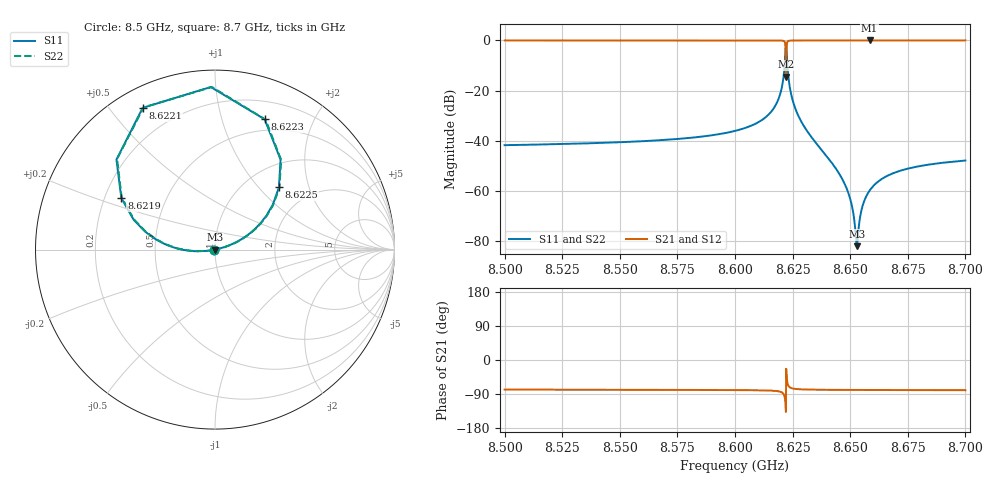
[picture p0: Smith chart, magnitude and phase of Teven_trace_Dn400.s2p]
! Sonnet Data File
! From: emgraph Version : 16.52
! From Project: 171114transmon_trace_brg2
! Data is De-embedded
! Data File Written: 11/14/2017 15:35:21
!< HDATE 11/14/2017 14:44:41
!< MDATE 11/14/2017 14:44:41
!< PARAMS
!< Lj = 15.24
!< Gap = 14.0
!< Width = 10.0
!< Airgap = 6.0
!< Pwidth = 2000.0
!< Dist = 400.0
!< END PARAMS
# GHZ S MA R 51.90000
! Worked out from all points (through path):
!   2001 points, 8.5 GHz to 8.7 GHz, reference 51.9 ohm
!   highest |S21| = 0.00 dB at 8.6584 GHz (marker M1); lowest = -14.4 dB at 8.6222 GHz (marker M2)
!   lowest |S11| = -82.1 dB at 8.6529 GHz (marker M3), VSWR 1.00, Z = 51.9 + j0.00797 ohm
!   |S11| at or under -10 dB: start of sweep to 8.6215 GHz; 8.6228 GHz to end of sweep
!   |S22| runs from -83.5 to -0.9 dB; largest |S21 - S12| = 0
!   S11 on the Smith chart (normalised r, x): 8.5 GHz: 0.98, -0.00; 8.6219 GHz: 0.27, +0.24; 8.6221 GHz: 0.08, +0.61; 8.6223 GHz: 0.38, +1.38; 8.6225 GHz: 1.41, +1.30; 8.7 GHz: 0.99, -0.00
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8.5  0.00815 -168.4  1 -78.1  1 -78.1  0.00815 -167.8
!< P1 F=8.5 Eeff=(6.44695349 -2.9785e-5) Z0=(51.7999087 1.19092e-4) R=0.0 C=0.0
!< P2 F=8.5 Eeff=(6.44695349 -2.9785e-5) Z0=(51.7999087 1.19092e-4) R=0.0 C=0.0
8.5334  0.008795 -168.7  1 -78.4  1 -78.4  0.008795 -168.2
8.5667  0.01018 -169.0  0.9999 -78.8  0.9999 -78.8  0.01018 -168.6
8.6  0.01569 -169.5  0.9999 -79.4  0.9999 -79.4  0.01569 -169.4
8.6163  0.04107 -171.1  0.999 -81.0  0.999 -81.0  0.04107 -171.3
8.6197  0.08842 -174.0  0.9955 -83.8  0.9955 -83.8  0.08842 -174.3
8.6211  0.193 179.4  0.9781 -89.8  0.9781 -89.8  0.193 179.1
8.6219  0.5958 151.2  0.7644 -115.2  0.7644 -115.2  0.5958 150.8
8.6221  0.8866 117.0  0.279 -137.2  0.279 -137.2  0.8866 116.6
8.6222  0.906 91.5  0.1902 -23.2  0.1902 -23.2  0.906 91.1
8.6223  0.7771 69.2  0.5388 -28.3  0.5388 -28.3  0.7771 68.8
8.6225  0.4972 44.2  0.842 -49.0  0.842 -49.0  0.4972 43.8
8.6233  0.1683 22.1  0.983 -69.1  0.983 -69.1  0.1683 21.6
8.6258  0.049 14.6  0.9985 -76.0  0.9985 -76.0  0.049 14.1
8.6334  0.01144 12.5  0.9999 -78.2  0.9999 -78.2  0.01144 11.4
8.6475  0.001407 14.6  1 -78.9  1 -78.9  0.001406 8.3
8.6502  0.0006385 18.4  1 -79.0  1 -79.0  0.000637 4.9
8.6529  7.872e-05 102.9  1 -79.0  1 -79.0  6.665e-05 -81.2
8.6555  0.0005235 -177.5  1 -79.1  1 -79.1  0.000522 -161.9
8.6584  0.001008 -173.4  1 -79.1  1 -79.1  0.001008 -165.5
8.6667  0.002053 -171.2  1 -79.3  1 -79.3  0.002053 -167.5
8.7  0.004018 -170.6  1 -79.7  1 -79.7  0.004018 -168.9
